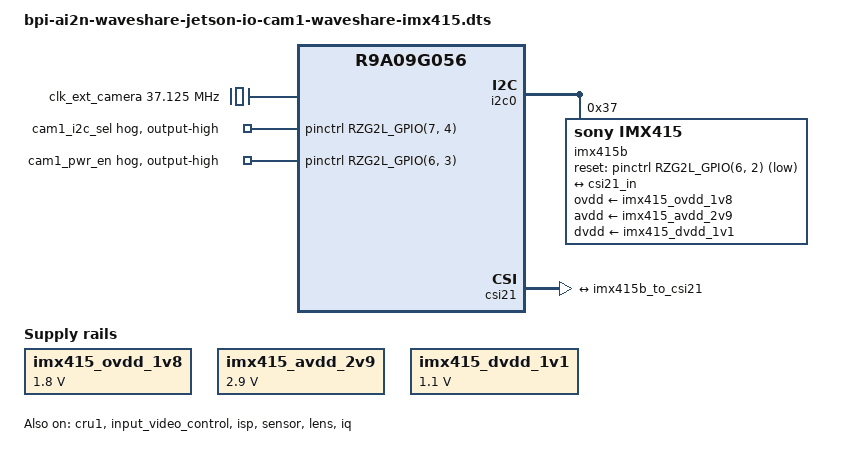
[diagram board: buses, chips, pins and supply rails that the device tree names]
/dts-v1/;
/plugin/;
#include <dt-bindings/interrupt-controller/arm-gic.h>
#include <dt-bindings/pinctrl/rzg2l-pinctrl.h>
#include <dt-bindings/gpio/gpio.h>

/ {
	compatible = "renesas,r9a09g056";

	fragment@0 {
		target-path = "/";

		__overlay__ {
			clk_ext_camera: clk_ext_camera {
				compatible = "fixed-clock";
				#clock-cells = <0>;
				clock-frequency = <37125000>;
			};

			imx415_ovdd_1v8: 1p8v {
				compatible = "regulator-fixed";
				regulator-name = "camera_ovdd";
				regulator-min-microvolt = <1800000>;
				regulator-max-microvolt = <1800000>;
				regulator-always-on;
			};

			imx415_avdd_2v9: 2p9v {
				compatible = "regulator-fixed";
				regulator-name = "camera_avdd";
				regulator-min-microvolt = <2900000>;
				regulator-max-microvolt = <2900000>;
				regulator-always-on;
			};

			imx415_dvdd_1v1: 1p1v {
				compatible = "regulator-fixed";
				regulator-name = "camera_dvdd";
				regulator-min-microvolt = <1100000>;
				regulator-max-microvolt = <1100000>;
				regulator-always-on;
			};
		};
	};

	fragment@1 {
		target = <&pinctrl>;
		__overlay__ {

			cam1_i2c_sel {
				gpio-hog;
				gpios = <RZG2L_GPIO(7, 4) GPIO_ACTIVE_HIGH>;
				output-high;
				line-name = "cam1_i2c_sel";
			};

			cam1_pwr_en {
				gpio-hog;
				gpios = <RZG2L_GPIO(6, 3) GPIO_ACTIVE_HIGH>;
				output-high;
				line-name = "cam1_pwr_en";
			};
		};
	};

	fragment@2 {
		target = <&i2c0>;
		__overlay__ {
			status = "okay";

			imx415b: imx415@37 {
				compatible = "sony,imx415";
				reg = <0x37>;
				clock-names = "inck";
				clocks = <&clk_ext_camera>;
				ovdd-supply = <&imx415_ovdd_1v8>;
				avdd-supply = <&imx415_avdd_2v9>;
				dvdd-supply = <&imx415_dvdd_1v1>;
				reset-gpios = <&pinctrl RZG2L_GPIO(6, 2) GPIO_ACTIVE_LOW>;

				port {
					imx415b_to_csi21: endpoint {
						clock-lanes = <0>;
						data-lanes = <1 2>;
						link-frequencies = /bits/ 64 <445500000 445500000 445500000 445500000>;
						remote-endpoint = <&csi21_in>;
					};
				};
			};
		};	
	};

	fragment@3 {
		target = <&cru1>;
		__overlay__ {
			status = "okay";

			memory-region = <&cru_func>;
		};
	};

	fragment@4 {
		target = <&csi21>;
		__overlay__ {
			status = "okay";
			ports {
				port@0 {
					reg = <0>;
					csi21_in: endpoint {
						clock-lanes = <0>;
						data-lanes = <1 2>;
						remote-endpoint = <&imx415b_to_csi21>;
					};
				};
			};
		};
	};

	fragment@5 {
		target = <&input_video_control>;
		__overlay__ {
			status = "okay";

			crus = <&cru1>;
		};
	};

	fragment@6 {
		target = <&isp>;
		__overlay__ {
			status = "okay";

			sensor-i2c = <&imx415b>;
			sensor-default-preset-mode = <1>;
		};
	};

	fragment@7 {
		target = <&sensor>;
		__overlay__ {
			status = "okay";
		};
	};

	fragment@8 {
		target = <&lens>;
		__overlay__ {
			status = "okay";
		};
	};

	fragment@9 {
		target = <&iq>;
		__overlay__ {
			status = "okay";
		};
	};
};
